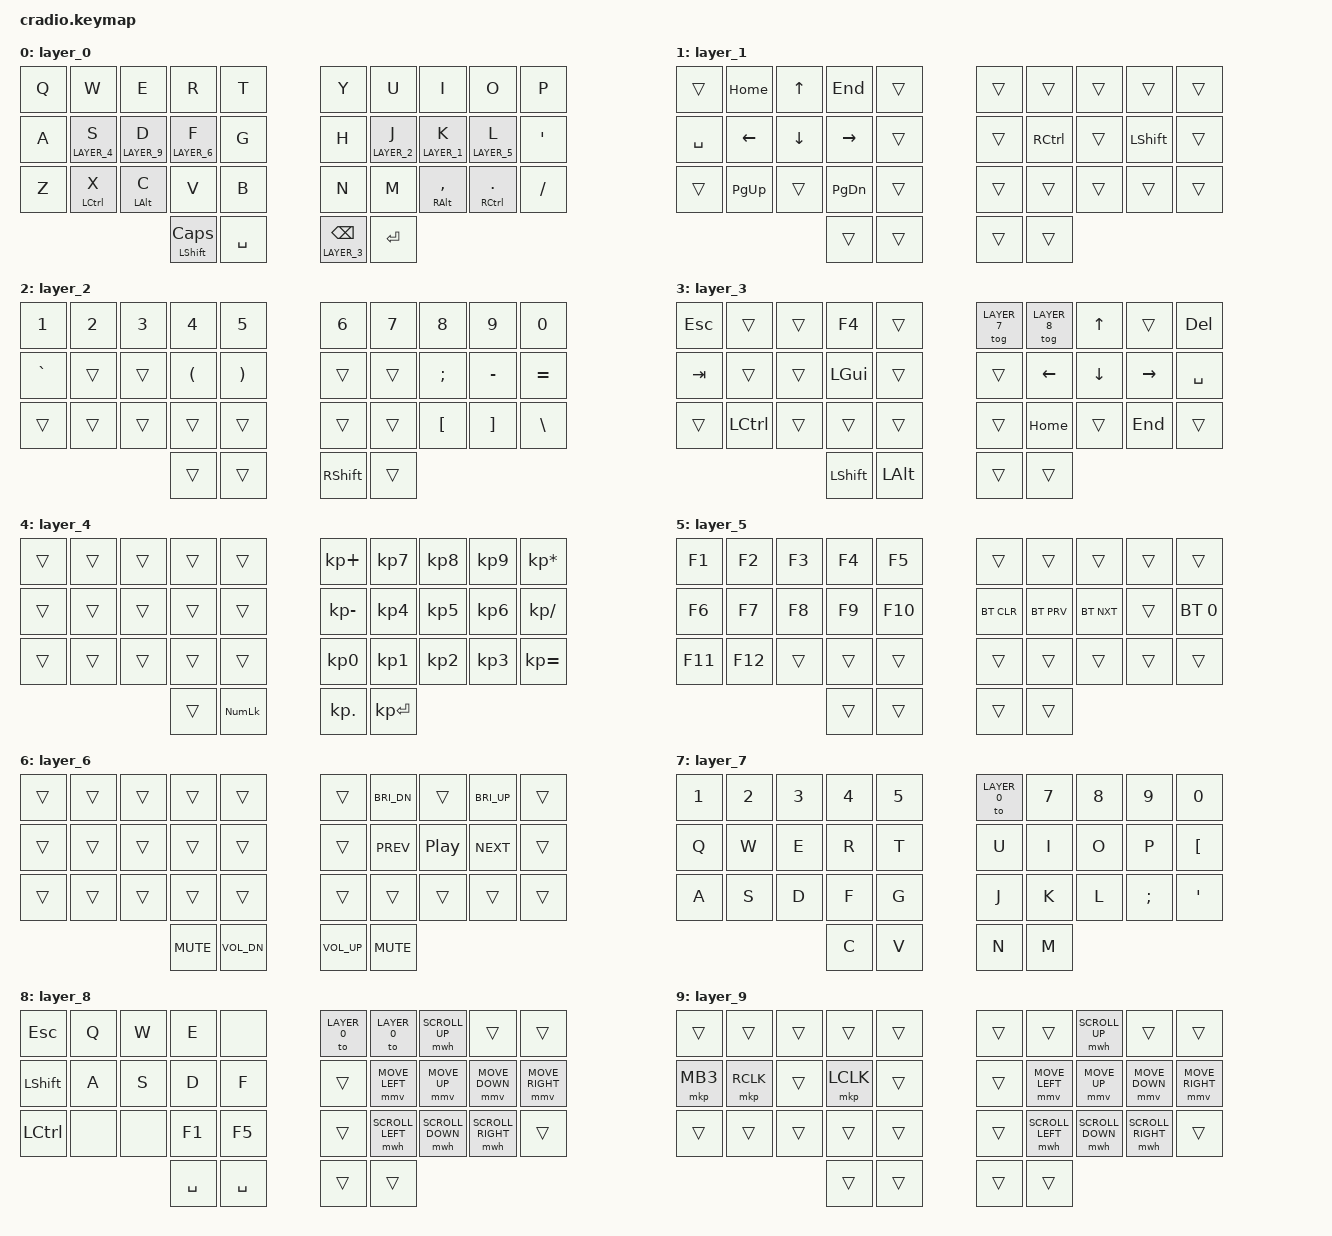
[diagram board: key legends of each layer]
/*
 * Copyright (c) 2020 The ZMK Contributors
 *
 * SPDX-License-Identifier: MIT
 */

#include <behaviors.dtsi>
#include <dt-bindings/zmk/keys.h>
#include <dt-bindings/zmk/bt.h>
#include <dt-bindings/zmk/mouse.h>

#define LAYER_0 0
#define LAYER_1 1
#define LAYER_2 2
#define LAYER_3 3
#define LAYER_4 4
#define LAYER_5 5
#define LAYER_6 6
#define LAYER_7 7
#define LAYER_8 8
#define LAYER_9 9

&mt {
  //  flavor = "tap-preferred";
   // tapping_term_ms = <200>;
};

&mmv {
    time-to-max-speed-ms = <0>;
    acceleration-exponent=<0>;
};

&mwh {
    time-to-max-speed-ms = <0>;
    acceleration-exponent=<0>;
};

/ { 
behaviors {

		ldt: layer_double_tap {
			compatible = "zmk,behavior-hold-tap";
			label = "LAYER_DOUBLE_TAP";
			#binding-cells = <2>;
			tapping-term-ms = <200>;
			quick-tap-ms = <175>;
			flavor = "tap-preferred";
			bindings = <&mo>, <&kp>;
		};
	};
	
        keymap {
                compatible = "zmk,keymap";
                
       		layer_0 {
		bindings = <
		&kp Q &kp W          &kp E          &kp R           &kp T		&kp Y &kp U          &kp I          &kp O          &kp P 
		&kp A &ldt LAYER_4 S &ldt LAYER_9 D &ldt LAYER_6 F  &kp G	        &kp H &ldt LAYER_2 J &ldt LAYER_1 K &ldt LAYER_5 L &kp QUOT
		&kp Z &mt LCTRL X    &mt LALT C     &kp V           &kp B		&kp N &kp M          &mt RALT CMMA  &mt RCTRL DOT  &kp SLASH
          			   &mt LSHIFT CAPS &kp SPACE  				&ldt LAYER_3 BSPC &kp ENTER 
		>;
		};

       		layer_1 {
		bindings = <
		&trans    &kp HOME   &kp UP   &kp END   &trans 				&trans &trans    &trans &trans     &trans
		&kp SPACE &kp LEFT   &kp DOWN &kp RIGHT &trans 				&trans &kp RCTRL &trans &kp LSHIFT &trans 
		&trans    &kp PG_UP  &trans   &kp PG_DN &trans				&trans &trans    &trans &trans     &trans 
					      &trans    &trans 				&trans &trans  
		>;
		};
		
		layer_2 {
		bindings = <
		&kp N1    &kp N2 &kp N3 &kp N4   &kp N5					&kp N6 &kp N7 &kp N8   &kp N9    &kp N0
		&kp GRAVE &trans &trans &kp LPAR &kp RPAR				&trans &trans &kp SEMI &kp MINUS &kp EQUAL
		&trans    &trans &trans &trans   &trans		    			&trans &trans &kp LBKT &kp RBKT  &kp BSLH
				          &trans &trans					&kp RSHIFT &trans
		>;
		};	
		
		layer_3 {
		bindings = <
		&kp ESC &trans    &trans &kp F4   &trans				&tog LAYER_7 &tog LAYER_8 &kp UP   &trans    &kp DEL
		&kp TAB &trans    &trans &kp LGUI &trans				&trans       &kp LEFT     &kp DOWN &kp RIGHT &kp SPACE
		&trans  &kp LCTRL &trans &trans   &trans		    		&trans       &kp HOME     &trans   &kp END   &trans
				     &kp LSHIFT &kp LALT				&trans &trans 
		>;
		};
		
		layer_4 {
		bindings = <
		&trans &trans &trans &trans &trans					&kp KP_PLUS  &kp KP_N7 &kp KP_N8 &kp KP_N9 &kp KP_MULTIPLY
		&trans &trans &trans &trans &trans					&kp KP_MINUS &kp KP_N4 &kp KP_N5 &kp KP_N6 &kp KP_DIVIDE
		&trans &trans &trans &trans &trans					&kp KP_N0    &kp KP_N1 &kp KP_N2 &kp KP_N3 &kp KP_EQUAL
				 &trans &kp KP_NUM	 				&kp KP_DOT   &kp KP_ENTER
		>;
		};
		
		layer_5 {
		bindings = <
		&kp F1  &kp F2  &kp F3 &kp F4 &kp F5					&trans     &trans     &trans     &trans &trans
		&kp F6  &kp F7  &kp F8 &kp F9 &kp F10					&bt BT_CLR &bt BT_PRV &bt BT_NXT &trans &bt BT_SEL 0
		&kp F11 &kp F12 &trans &trans &trans					&trans     &trans     &trans     &trans &trans
			 	       &trans &trans 					&trans     &trans
		>;
		};
		
		layer_6 {
		bindings = <
		&trans &trans &trans &trans &trans					&trans &kp C_BRI_DN &trans   &kp C_BRI_UP &trans
		&trans &trans &trans &trans &trans					&trans &kp C_PREV   &kp C_PP &kp C_NEXT   &trans
		&trans &trans &trans &trans &trans					&trans &trans       &trans   &trans       &trans
			   &kp C_MUTE &kp C_VOL_DN 					&kp C_VOL_UP &kp C_MUTE
		>;
		};
				
		layer_7 {
		bindings = <
		&kp N1 &kp N2 &kp N3 &kp N4 &kp N5					&to LAYER_0 &kp N7 &kp N8 &kp N9    &kp N0
		&kp Q  &kp W  &kp E  &kp R  &kp T					&kp U       &kp I  &kp O  &kp P     &kp LBKT
		&kp A  &kp S  &kp D  &kp F  &kp G					&kp J       &kp K  &kp L  &kp SEMI  &kp QUOT
			   	     &kp C  &kp V 					&kp N       &kp M
		>;
		};
		
		layer_8 {
		bindings = <
		&kp ESC    &kp Q  &kp W  &kp E  &none					&to LAYER_0 &to LAYER_0      &mwh SCROLL_UP   &trans            &trans
		&kp LSHIFT &kp A  &kp S  &kp D  &kp F					&trans      &mmv MOVE_LEFT   &mmv MOVE_UP     &mmv MOVE_DOWN    &mmv MOVE_RIGHT
		&kp LCTRL  &none  &none  &kp F1 &kp F5					&trans      &mwh SCROLL_LEFT &mwh SCROLL_DOWN &mwh SCROLL_RIGHT &trans
			   	   &kp SPACE &kp SPACE 					&trans      &trans
		>;
		};
		
		layer_9 {
		bindings = <
		&trans   &trans    &trans &trans    &trans				&trans &trans           &mwh SCROLL_UP   &trans            &trans
		&mkp MB3 &mkp RCLK &trans &mkp LCLK &trans				&trans &mmv MOVE_LEFT   &mmv MOVE_UP     &mmv MOVE_DOWN    &mmv MOVE_RIGHT
		&trans   &trans    &trans &trans    &trans				&trans &mwh SCROLL_LEFT &mwh SCROLL_DOWN &mwh SCROLL_RIGHT &trans
			      	          &trans    &trans				&trans &trans
		>;
		};
        
	};
};
